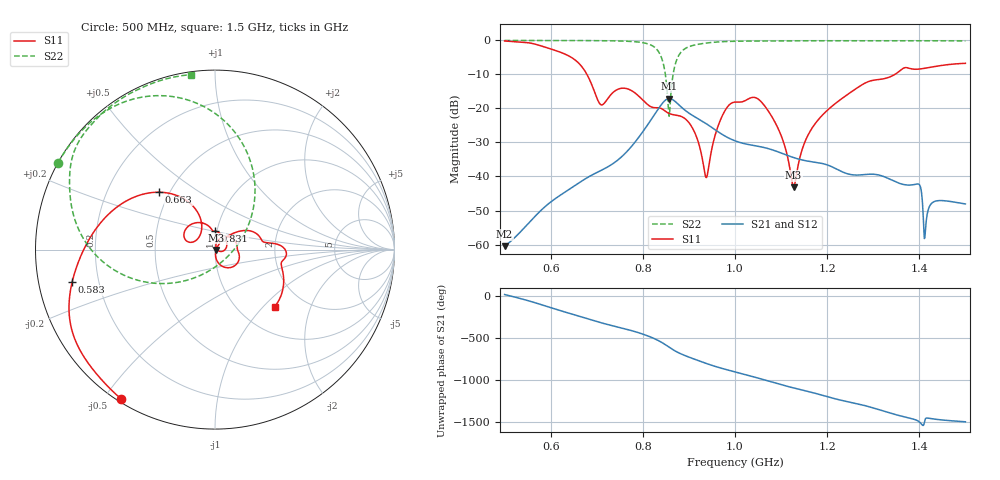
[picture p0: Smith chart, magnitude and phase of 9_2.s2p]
! TOUCHSTONE file generated by CST MICROWAVE STUDIO
! Date and time: Wed Oct 28 19:34:42 2020
! Project name: Scenario_1_Circular_Tissue_out_of_Line_v2.cst
! Parameters = {dy1=-207.6; L_HA=400; MT=2.54; Rad_Dielectric=30; Rad_Lower=7.3; Rad_Upper=30; a_HA=580; a_WG=246; b_HA=500; b_WG=121; c_HA=0; c_WG=187; d_feed=85; dx1=346; h_feed=15; h_lower=18; h_upper=40}
! Header version: 2018
! Port assignment regex: !\s*Touchstone port\s*([0-9]+)\s*=\s*(CST MWS port|CST DS port)\s*([0-9]+|Zmin|Zmax)\s*\(\"(.*)\"\)(\s*mode\s*([0-9]+))?.*
! Touchstone port assignment:
! Touchstone port 1 = CST MWS port 1 ("")
! Touchstone port 2 = CST MWS port 2 ("")
# GHz S DB R 50
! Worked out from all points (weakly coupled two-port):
!   1003 points, 500 MHz to 1.5 GHz, reference 50 ohm
!   highest |S21| = -17.10 dB at 857 MHz (marker M1); lowest = -60.5 dB at 500 MHz (marker M2)
!   lowest |S11| = -43.2 dB at 1.127 GHz (marker M3), VSWR 1.01, Z = 50.7 - j0.231 ohm
!   |S11| at or under -10 dB: 678.7 MHz to 1.347 GHz (668.2 MHz wide, 66 % of centre)
!   |S22| runs from -22.3 to 0.0 dB; largest |S21 - S12| = 0.00015
!   S11 on the Smith chart (normalised r, x): 500 MHz: 0.01, -0.55; 583 MHz: 0.10, -0.11; 663 MHz: 0.44, +0.35; 831 MHz: 0.98, +0.20; 1.5 GHz: 1.44, -1.16
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0.5  -0.16 -122.3  -60.49 13.2  -60.49 13.2  -0.01 151.1
0.583  -1.77 -167.3  -49.45 -112.1  -49.45 -112.1  -0.02 145.4
0.663  -6.99 134.4  -41.72 114.5  -41.72 114.5  -0.04 138.7
0.667  -7.61 130.5  -41.37 107.9  -41.37 107.9  -0.04 138.3
0.709  -18.89 139.9  -38.24 39.9  -38.24 39.9  -0.07 133.7
0.759  -14.04 142.4  -33.56 -29.6  -33.56 -29.6  -0.20 125.6
0.831  -19.76 91.0  -20.64 -163.9  -20.64 -163.9  -2.73 87.0
0.834  -19.77 88.1  -20.04 -172.1  -20.04 -172.1  -3.28 82.5
0.857  -21.48 64.6  -17.10 110.5  -17.10 110.5  -22.30 -47.1
0.88  -22.19 39.4  -19.16 38.2  -19.16 38.2  -3.96 -174.4
0.911  -26.62 -9.2  -22.31 -29.4  -22.31 -29.4  -1.39 160.9
0.938  -40.32 31.1  -24.51 -82.6  -24.51 -82.6  -0.77 152.1
0.967  -23.83 67.4  -27.18 -133.1  -27.18 -133.1  -0.41 145.7
1  -18.13 14.8  -29.51 178.4  -29.51 178.4  -0.25 140.2
1.067  -19.72 -65.7  -31.62 78.1  -31.62 78.1  -0.16 132.7
1.127  -43.15 -19.1  -34.43 -11.4  -34.43 -11.4  -0.10 127.4
1.167  -25.83 52.9  -35.68 -64.9  -35.68 -64.9  -0.10 124.1
1.334  -10.84 7.9  -40.67 54.9  -40.67 54.9  -0.08 111.5
1.399  -8.43 -12.9  -42.29 -48.5  -42.24 -48.6  -0.09 106.4
1.413  -8.16 -16.4  -56.19 -19.1  -55.62 -22.9  -0.10 105.2
1.432  -7.71 -21.9  -47.40 -19.8  -47.42 -21.0  -0.10 103.7
1.5  -6.73 -44.0  -48.07 -52.1  -48.07 -52.8  -0.14 97.9
